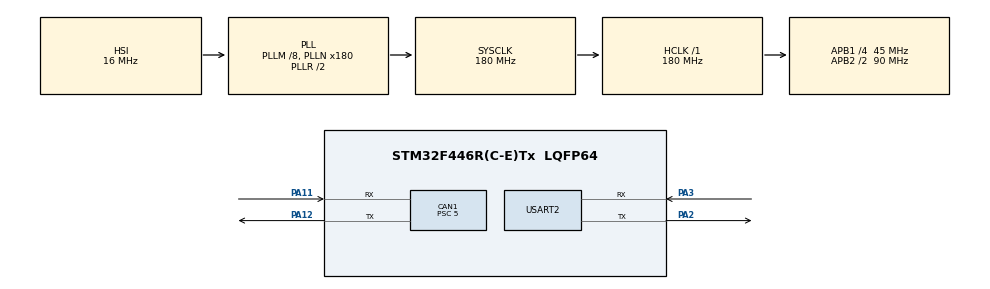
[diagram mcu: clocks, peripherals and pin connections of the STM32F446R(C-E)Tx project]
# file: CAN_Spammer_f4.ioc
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CAN1.BS1=CAN_BS1_7TQ
CAN1.CalculateTimeQuantum=111.11111111111111
CAN1.Prescaler=5
Mcu.Family=STM32F4
Mcu.Name=STM32F446R(C-E)Tx
Mcu.Package=LQFP64
NVIC.CAN1_RX0_IRQn=true\:0\:0\:false\:true\:true\:4\:true\:true
NVIC.CAN1_RX1_IRQn=true\:0\:0\:false\:true\:true\:2\:true\:true
NVIC.CAN1_SCE_IRQn=true\:0\:0\:false\:true\:true\:3\:true\:true
NVIC.CAN1_TX_IRQn=true\:0\:0\:false\:true\:true\:1\:true\:true
NVIC.PriorityGroup=NVIC_PRIORITYGROUP_4
PA11.Mode=Master
PA11.Signal=CAN1_RX
PA12.Mode=Master
PA12.Signal=CAN1_TX
PA2.Mode=Asynchronous
PA2.Signal=USART2_TX
PA3.Mode=Asynchronous
PA3.Signal=USART2_RX
ProjectManager.HeapSize=0x200
ProjectManager.StackSize=0x400
ProjectManager.TargetToolchain=STM32CubeIDE
RCC.AHBFreq_Value=180000000
RCC.APB1CLKDivider=RCC_HCLK_DIV4
RCC.APB1Freq_Value=45000000
RCC.APB1TimFreq_Value=90000000
RCC.APB2CLKDivider=RCC_HCLK_DIV2
RCC.APB2Freq_Value=90000000
RCC.APB2TimFreq_Value=180000000
RCC.CortexFreq_Value=180000000
RCC.HCLKFreq_Value=180000000
RCC.PLLM=8
RCC.PLLN=180
RCC.SYSCLKFreq_VALUE=180000000
RCC.SYSCLKSource=RCC_SYSCLKSOURCE_PLLRCLK
RCC.USBFreq_Value=180000000
RCC.VCOOutputFreq_Value=360000000
USART2.VirtualMode=VM_ASYNC
board=custom

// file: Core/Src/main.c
/* USER CODE BEGIN Header */
/**
  ******************************************************************************
  * @file           : main.c
  * @brief          : Main program body
  ******************************************************************************
  * @attention
  *
  * <h2><center>&copy; Copyright (c) 2019 STMicroelectronics.
  * All rights reserved.</center></h2>
  *
  * This software component is licensed by ST under BSD 3-Clause license,
  * the "License"; You may not use this file except in compliance with the
  * License. You may obtain a copy of the License at:
  *                        opensource.org/licenses/BSD-3-Clause
  *
  ******************************************************************************
  */
/* USER CODE END Header */

#include "main.h"

/* USER CODE BEGIN Includes */
#include "stdio.h"
#include "string.h"
/* USER CODE END Includes */

CAN_HandleTypeDef hcan1;

UART_HandleTypeDef huart2;

/* USER CODE BEGIN PV */
uint8_t tx[8];
char debug_tx[200];
CAN_FilterTypeDef sFilter;
HAL_StatusTypeDef configFilter_status;
HAL_StatusTypeDef activateNotif_status;
HAL_StatusTypeDef canStart_status;
int counter;
/* USER CODE END PV */

void SystemClock_Config(void);
static void MX_GPIO_Init(void);
static void MX_CAN1_Init(void);
static void MX_USART2_UART_Init(void);
static void MX_NVIC_Init(void);
/* USER CODE BEGIN PFP */
int CAN_Send(int id, uint8_t *tx);
/* USER CODE END PFP */

int main(void)
{

  /* MCU Configuration--------------------------------------------------------*/

  /* Reset of all peripherals, Initializes the Flash interface and the Systick. */
  HAL_Init();

  /* Configure the system clock */
  SystemClock_Config();

  /* Initialize all configured peripherals */
  MX_GPIO_Init();
  MX_CAN1_Init();
  MX_USART2_UART_Init();

  /* Initialize interrupts */
  MX_NVIC_Init();
  /* USER CODE BEGIN 2 */

  HAL_UART_Transmit(&huart2, (uint8_t*)"***** START *****\r\n", strlen("***** START *****\r\n"), 10);

	sFilter.FilterMode = CAN_FILTERMODE_IDMASK;
	sFilter.FilterIdLow = 0;
	sFilter.FilterIdHigh = 0;
	sFilter.FilterMaskIdHigh = 0;
	sFilter.FilterMaskIdLow = 0;
	sFilter.FilterFIFOAssignment = CAN_FILTER_FIFO0;
	sFilter.FilterBank = 0;
	sFilter.FilterScale  = CAN_FILTERSCALE_16BIT;
	sFilter.FilterActivation = ENABLE;
	configFilter_status = HAL_CAN_ConfigFilter(&hcan1, &sFilter);

	HAL_CAN_ActivateNotification(&hcan1, CAN1_RX0_IRQn);
	activateNotif_status = HAL_CAN_ActivateNotification(&hcan1, CAN1_TX_IRQn);
	HAL_CAN_ActivateNotification(&hcan1, CAN1_RX1_IRQn);
	HAL_CAN_ActivateNotification(&hcan1, CAN1_SCE_IRQn);

	canStart_status = HAL_CAN_Start(&hcan1);

	sprintf(debug_tx,
			"CAN config status: %d \r\n"
			"CAN notification status: %d\r\n"
			"CAN start status: %d\r\n"
			"CAN CAN error code: %d\r\n"
			,(int) configFilter_status,(int) activateNotif_status,(int) hcan1.ErrorCode,(int) canStart_status);
	HAL_UART_Transmit(&huart2,(uint8_t*)debug_tx, strlen(debug_tx), 100);

  /* USER CODE END 2 */

  /* Infinite loop */
  while (1)
  {

    /* USER CODE BEGIN 3 */
	  tx[0] = 0;
	  tx[1] = 0;
	  tx[2] = 0;
	  tx[3] = 0;
	  tx[4] = counter >> 24;
	  tx[5] = counter >> 16;
	  tx[6] = counter >> 8;
	  tx[7] = counter % 256;
	  int ret = 0;
	  ret = CAN_Send(0x01, tx);

	  HAL_Delay(500);

	  counter ++;
  }
  /* USER CODE END 3 */
}

void SystemClock_Config(void)
{
  RCC_OscInitTypeDef RCC_OscInitStruct = {0};
  RCC_ClkInitTypeDef RCC_ClkInitStruct = {0};

  /** Configure the main internal regulator output voltage
  */
  __HAL_RCC_PWR_CLK_ENABLE();
  __HAL_PWR_VOLTAGESCALING_CONFIG(PWR_REGULATOR_VOLTAGE_SCALE1);
  /** Initializes the CPU, AHB and APB busses clocks
  */
  RCC_OscInitStruct.OscillatorType = RCC_OSCILLATORTYPE_HSI;
  RCC_OscInitStruct.HSIState = RCC_HSI_ON;
  RCC_OscInitStruct.HSICalibrationValue = RCC_HSICALIBRATION_DEFAULT;
  RCC_OscInitStruct.PLL.PLLState = RCC_PLL_ON;
  RCC_OscInitStruct.PLL.PLLSource = RCC_PLLSOURCE_HSI;
  RCC_OscInitStruct.PLL.PLLM = 8;
  RCC_OscInitStruct.PLL.PLLN = 180;
  RCC_OscInitStruct.PLL.PLLP = RCC_PLLP_DIV2;
  RCC_OscInitStruct.PLL.PLLQ = 2;
  RCC_OscInitStruct.PLL.PLLR = 2;
  if (HAL_RCC_OscConfig(&RCC_OscInitStruct) != HAL_OK)
  {
    Error_Handler();
  }
  /** Activate the Over-Drive mode
  */
  if (HAL_PWREx_EnableOverDrive() != HAL_OK)
  {
    Error_Handler();
  }
  /** Initializes the CPU, AHB and APB busses clocks
  */
  RCC_ClkInitStruct.ClockType = RCC_CLOCKTYPE_HCLK|RCC_CLOCKTYPE_SYSCLK
                              |RCC_CLOCKTYPE_PCLK1|RCC_CLOCKTYPE_PCLK2;
  RCC_ClkInitStruct.SYSCLKSource = RCC_SYSCLKSOURCE_PLLRCLK;
  RCC_ClkInitStruct.AHBCLKDivider = RCC_SYSCLK_DIV1;
  RCC_ClkInitStruct.APB1CLKDivider = RCC_HCLK_DIV4;
  RCC_ClkInitStruct.APB2CLKDivider = RCC_HCLK_DIV2;

  if (HAL_RCC_ClockConfig(&RCC_ClkInitStruct, FLASH_LATENCY_5) != HAL_OK)
  {
    Error_Handler();
  }
}

/**
  * @brief NVIC Configuration.
  * @retval None
  */
static void MX_NVIC_Init(void)
{
  /* CAN1_TX_IRQn interrupt configuration */
  HAL_NVIC_SetPriority(CAN1_TX_IRQn, 0, 0);
  HAL_NVIC_EnableIRQ(CAN1_TX_IRQn);
  /* CAN1_RX1_IRQn interrupt configuration */
  HAL_NVIC_SetPriority(CAN1_RX1_IRQn, 0, 0);
  HAL_NVIC_EnableIRQ(CAN1_RX1_IRQn);
  /* CAN1_SCE_IRQn interrupt configuration */
  HAL_NVIC_SetPriority(CAN1_SCE_IRQn, 0, 0);
  HAL_NVIC_EnableIRQ(CAN1_SCE_IRQn);
  /* CAN1_RX0_IRQn interrupt configuration */
  HAL_NVIC_SetPriority(CAN1_RX0_IRQn, 0, 0);
  HAL_NVIC_EnableIRQ(CAN1_RX0_IRQn);
}

static void MX_CAN1_Init(void)
{

  hcan1.Instance = CAN1;
  hcan1.Init.Prescaler = 5;
  hcan1.Init.Mode = CAN_MODE_NORMAL;
  hcan1.Init.SyncJumpWidth = CAN_SJW_1TQ;
  hcan1.Init.TimeSeg1 = CAN_BS1_7TQ;
  hcan1.Init.TimeSeg2 = CAN_BS2_1TQ;
  hcan1.Init.TimeTriggeredMode = DISABLE;
  hcan1.Init.AutoBusOff = DISABLE;
  hcan1.Init.AutoWakeUp = DISABLE;
  hcan1.Init.AutoRetransmission = DISABLE;
  hcan1.Init.ReceiveFifoLocked = DISABLE;
  hcan1.Init.TransmitFifoPriority = DISABLE;
  if (HAL_CAN_Init(&hcan1) != HAL_OK)
  {
    Error_Handler();
  }

}

static void MX_USART2_UART_Init(void)
{

  huart2.Instance = USART2;
  huart2.Init.BaudRate = 115200;
  huart2.Init.WordLength = UART_WORDLENGTH_8B;
  huart2.Init.StopBits = UART_STOPBITS_1;
  huart2.Init.Parity = UART_PARITY_NONE;
  huart2.Init.Mode = UART_MODE_TX_RX;
  huart2.Init.HwFlowCtl = UART_HWCONTROL_NONE;
  huart2.Init.OverSampling = UART_OVERSAMPLING_16;
  if (HAL_UART_Init(&huart2) != HAL_OK)
  {
    Error_Handler();
  }

}

static void MX_GPIO_Init(void)
{

  /* GPIO Ports Clock Enable */
  __HAL_RCC_GPIOA_CLK_ENABLE();

}

/* USER CODE BEGIN 4 */
int CAN_Send(int id, uint8_t *tx){

	uint32_t mailbox;
	uint8_t flag = 0;

	CAN_TxHeaderTypeDef TxHeader;
	TxHeader.StdId = id;
	TxHeader.IDE = CAN_ID_STD;
	TxHeader.RTR = CAN_RTR_DATA;
	TxHeader.DLC = 8;
	TxHeader.TransmitGlobalTime = DISABLE;

	if (HAL_CAN_GetTxMailboxesFreeLevel(&hcan1) != 0 && HAL_CAN_IsTxMessagePending(&hcan1, CAN_TX_MAILBOX0) == 0){
		HAL_CAN_AddTxMessage(&hcan1, &TxHeader, tx, &mailbox);
		flag = 1;
	}

	return flag;
}
void HAL_CAN_TxMailbox0CompleteCallback(CAN_HandleTypeDef *hcan){
	sprintf(debug_tx, "Messaggio inviato 0 \r\n \r\n");
	HAL_UART_Transmit(&huart2,(uint8_t*)debug_tx, strlen(debug_tx), 100);
}
void HAL_CAN_TxMailbox1CompleteCallback(CAN_HandleTypeDef *hcan){
	sprintf(debug_tx, "Messaggio inviato 1 \r\n \r\n");
	HAL_UART_Transmit(&huart2,(uint8_t*)debug_tx, strlen(debug_tx), 100);
}
void HAL_CAN_TxMailbox2CompleteCallback(CAN_HandleTypeDef *hcan){
	sprintf(debug_tx, "Messaggio inviato 2 \r\n \r\n");
	HAL_UART_Transmit(&huart2,(uint8_t*)debug_tx, strlen(debug_tx), 100);
}
void HAL_CAN_ErrorCallback(CAN_HandleTypeDef *hcan){
	sprintf(debug_tx, "ERRORE \r\n \r\n");
	HAL_UART_Transmit(&huart2,(uint8_t*)debug_tx, strlen(debug_tx), 100);
}

/* USER CODE END 4 */

void Error_Handler(void)
{
}

/************************ (C) COPYRIGHT STMicroelectronics *****END OF FILE****/
